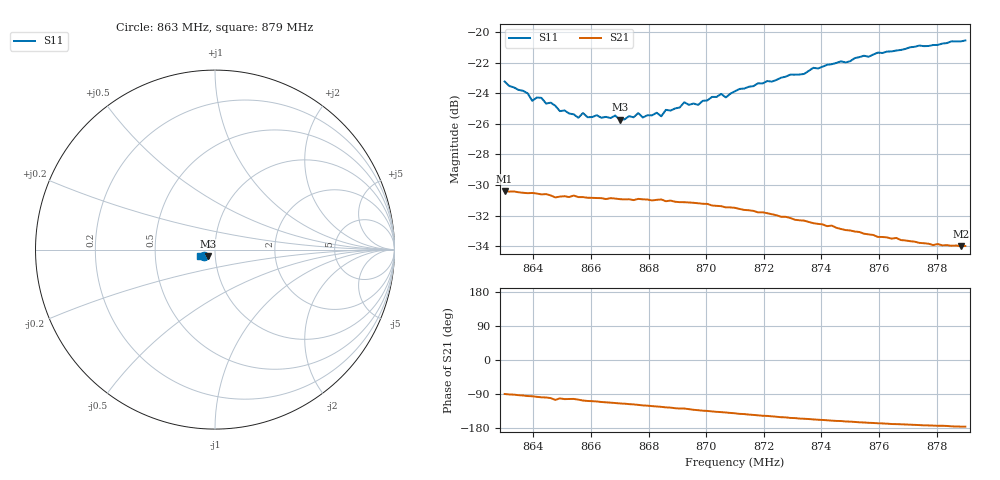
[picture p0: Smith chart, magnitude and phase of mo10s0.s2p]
# HZ S RI R 50
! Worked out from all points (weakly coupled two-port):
!   101 points, 863 MHz to 879 MHz, reference 50 ohm
!   highest |S21| = -30.39 dB at 863 MHz (marker M1); lowest = -34.0 dB at 878.84 MHz (marker M2)
!   lowest |S11| = -25.7 dB at 867 MHz (marker M3), VSWR 1.11, Z = 46.3 - j3.34 ohm
!   |S11| at or under -10 dB: start of sweep to end of sweep
!   S12 and S22 are empty: the file has one direction only
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8.63e8  -0.0593 -0.0351  0.000176 -0.0302  0 0  0 0
8.638e8  -0.0531 -0.034  -0.00263 -0.0296  0 0  0 0
8.6396e8  -0.0496 -0.033  -0.00294 -0.0296  0 0  0 0
8.6428e8  -0.0506 -0.034  -0.00431 -0.0291  0 0  0 0
8.6556e8  -0.0411 -0.0326  -0.00728 -0.0279  0 0  0 0
8.6572e8  -0.0425 -0.0339  -0.00843 -0.0276  0 0  0 0
8.6588e8  -0.0409 -0.0332  -0.00893 -0.0273  0 0  0 0
8.6684e8  -0.0389 -0.0365  -0.0114 -0.0262  0 0  0 0
8.67e8  -0.0372 -0.0359  -0.0118 -0.0258  0 0  0 0
8.6764e8  -0.0366 -0.0402  -0.0136 -0.025  0 0  0 0
8.678e8  -0.035 -0.0392  -0.0141 -0.0246  0 0  0 0
8.6828e8  -0.0351 -0.0416  -0.0152 -0.0238  0 0  0 0
8.6844e8  -0.0339 -0.0408  -0.0157 -0.0236  0 0  0 0
8.686e8  -0.0355 -0.0429  -0.016 -0.0229  0 0  0 0
8.6924e8  -0.0404 -0.0429  -0.0171 -0.0219  0 0  0 0
8.6972e8  -0.0342 -0.0466  -0.0186 -0.0203  0 0  0 0
8.71e8  -0.0388 -0.0509  -0.0206 -0.0169  0 0  0 0
8.734e8  -0.048 -0.0549  -0.0219 -0.0102  0 0  0 0
8.7372e8  -0.0515 -0.0565  -0.0218 -0.00935  0 0  0 0
8.7644e8  -0.0698 -0.0509  -0.0207 -0.00405  0 0  0 0
8.7884e8  -0.0848 -0.0386  -0.0199 -0.00148  0 0  0 0
8.79e8  -0.0862 -0.037  -0.0199 -0.00142  0 0  0 0
